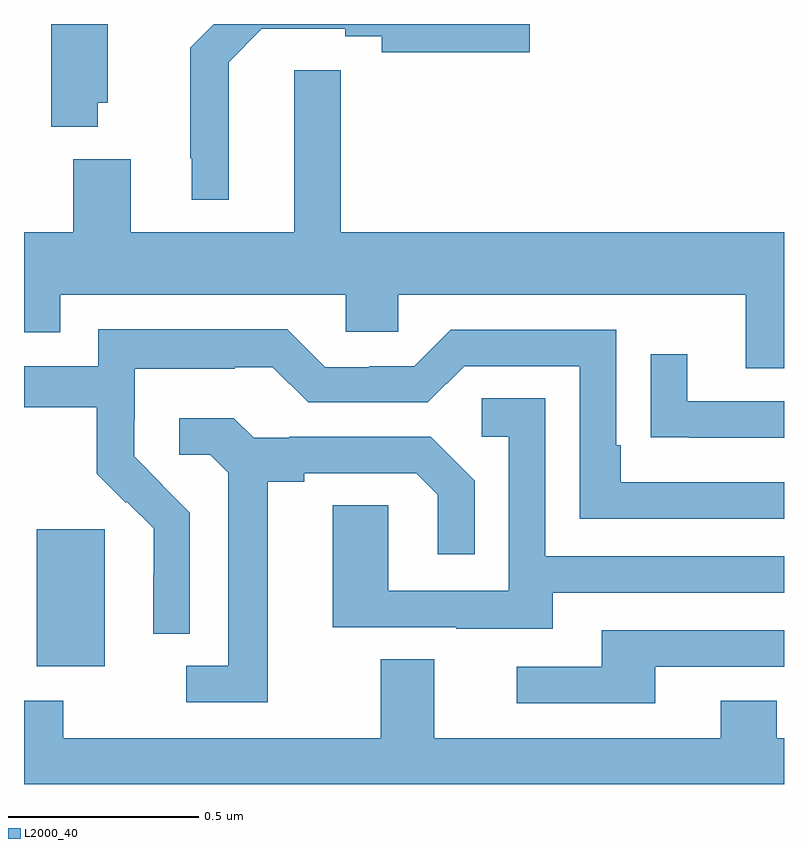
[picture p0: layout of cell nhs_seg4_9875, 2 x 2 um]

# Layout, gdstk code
import gdstk
lib = gdstk.Library(unit=1e-6, precision=1e-09)
def R(c, l, rs):  # rectangles x0, y0, x1, y1
    for r in rs: c.add(gdstk.rectangle(r[:2], r[2:], *l))
def P(c, l, *ps):  # polygons
    for p in ps: c.add(gdstk.Polygon(p, *l))
L2000_40 = (2000, 40)

nhs_seg4_9875 = lib.new_cell('nhs_seg4_9875')
R(nhs_seg4_9875, L2000_40, [(233.033,761.21,233.212,761.571)])
P(nhs_seg4_9875, L2000_40, [(233.539,762.8),(233.626,762.888),(233.846,762.888),(233.846,762.868),(233.942,762.868),(233.942,762.826),(234.331,762.826),(234.331,762.9),(233.499,762.9),(233.437,762.838),(233.437,762.547),(233.441,762.547),(233.441,762.437),(233.539,762.437)],
  [(233.194,762.693),(233.221,762.693),(233.221,762.9),(233.072,762.9),(233.072,762.629),(233.194,762.629)],
  [(235,762.352),(233.834,762.352),(233.834,762.778),(233.711,762.778),(233.711,762.352),(233.281,762.352),(233.281,762.544),(233.129,762.544),(233.129,762.352),(233,762.352),(233,762.089),(233.095,762.089),(233.095,762.188),(233.847,762.188),(233.847,762.09),(233.985,762.09),(233.985,762.188),(234.899,762.188),(234.899,761.994),(235,761.994)],
  [(233.436,761.614),(233.363,761.687),(233.364,761.688),(233.29,761.762),(233.29,761.859),(233.292,761.859),(233.292,761.993),(233.555,761.993),(233.555,761.997),(233.655,761.997),(233.748,761.904),(234.063,761.904),(234.159,762),(234.462,762),(234.462,761.598),(235,761.598),(235,761.694),(234.571,761.694),(234.571,761.791),(234.558,761.791),(234.558,762.096),(234.123,762.096),(234.027,762),(233.909,762),(233.909,761.997),(233.793,761.997),(233.693,762.097),(233.196,762.097),(233.196,762),(233,762),(233,761.892),(233.191,761.892),(233.191,761.717),(233.268,761.64),(233.271,761.643),(233.342,761.573),(233.342,761.45),(233.34,761.45),(233.34,761.296),(233.436,761.296)],
  [(235,761.907),(234.745,761.907),(234.745,762.031),(234.649,762.031),(234.649,761.812),(234.751,761.812),(234.751,761.811),(235,761.811)],
  [(234.391,761.403),(235,761.403),(235,761.499),(234.372,761.499),(234.372,761.915),(234.204,761.915),(234.204,761.814),(234.276,761.814),(234.276,761.409),(233.958,761.409),(233.958,761.633),(233.813,761.633),(233.813,761.313),(234.137,761.313),(234.137,761.309),(234.391,761.309)],
  [(233.641,761.696),(233.737,761.696),(233.737,761.718),(234.032,761.718),(234.089,761.661),(234.089,761.505),(234.186,761.505),(234.186,761.698),(234.07,761.814),(233.698,761.814),(233.698,761.811),(233.604,761.811),(233.552,761.863),(233.409,761.863),(233.409,761.766),(233.49,761.766),(233.537,761.719),(233.537,761.211),(233.427,761.211),(233.427,761.115),(233.641,761.115)],
  [(234.661,761.208),(235,761.208),(235,761.304),(234.521,761.304),(234.521,761.208),(234.297,761.208),(234.297,761.112),(234.661,761.112)],
  [(235,761.02),(234.981,761.02),(234.981,761.119),(234.833,761.119),(234.833,761.02),(234.079,761.02),(234.079,761.228),(233.939,761.228),(233.939,761.02),(233.103,761.02),(233.103,761.119),(233,761.119),(233,760.9),(235,760.9)])

lib.write_gds('nhs_seg4_9875.gds')
